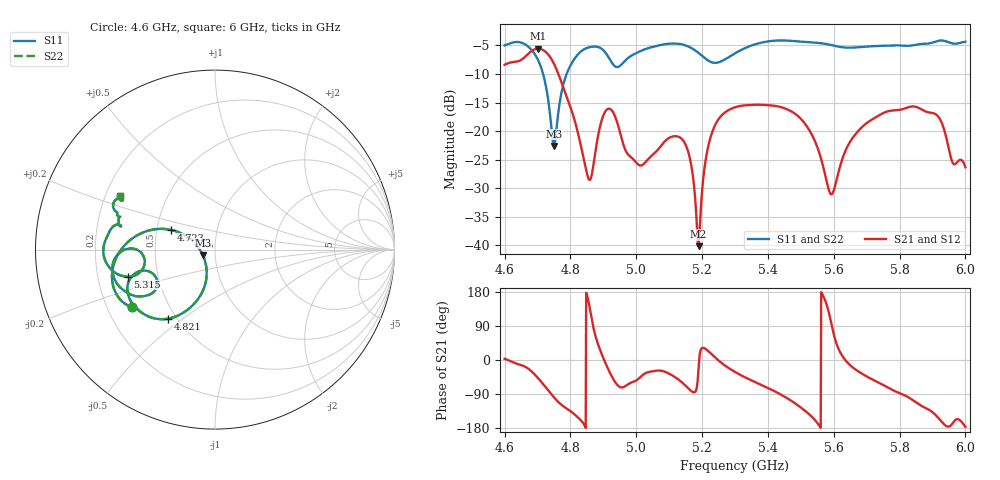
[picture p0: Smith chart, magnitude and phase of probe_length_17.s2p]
! TOUCHSTONE file generated by CST MICROWAVE STUDIO
! Date and time: Sat Nov 30 13:12:03 2024
! Project name: test_tuning.cst
! Parameters = {airCoaxOuterDiameter=3; chamferAngle=45; chamferWidth=24; connectorLength=10; drillingHoleDiameter=4.1; feedLength=60; flareDiameter=130; flareLength=70; gratingDistance=0; gratingGap=1.90274; outletLength=30; polarizerLength=134; probe1Diameter=1.3; probe1Distance=14; probe1Length=1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
! Header version: 2024
! Port assignment regex: !\s*Touchstone port\s*([0-9]+)\s*=\s*(CST MWS port|CST DES external port|CST DES block port)\s*(.+)\s* \(\"(.*)\"\)(\s*mode\s*([0-9]+))?.*
! Touchstone port assignment:
! Touchstone port 1 = CST MWS port 1 ("Input1")
! Touchstone port 2 = CST MWS port 2 ("Input2")
# GHz S MA R 50
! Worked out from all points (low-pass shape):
!   1001 points, 4.6 GHz to 6 GHz, reference 50 ohm
!   highest |S21| = -5.55 dB at 4.702 GHz (marker M1); lowest = -40.1 dB at 5.189 GHz (marker M2)
!   |S21| within 3 dB of the highest: start of sweep to 4.753 GHz
!   lowest |S11| = -22.6 dB at 4.75 GHz (marker M3), VSWR 1.16, Z = 43.5 - j2.6 ohm
!   |S11| at or under -10 dB: 4.717 GHz to 4.788 GHz (71.45 MHz wide, 1.5 % of centre)
!   |S22| runs from -22.6 to -4.1 dB; largest |S21 - S12| = 1.2e-06
!   S11 on the Smith chart (normalised r, x): 4.6 GHz: 0.30, -0.29; 4.723 GHz: 0.60, +0.14; 4.821 GHz: 0.45, -0.44; 5.315 GHz: 0.33, -0.14; 6 GHz: 0.26, +0.24
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4.6  0.5637 -145.2  0.3814 3.3  0.3814 3.3  0.5637 -145.2
4.7022  0.4158 167.0  0.5276 -48.5  0.5276 -48.5  0.4158 167.0
4.7232  0.2668 155.8  0.4988 -70.1  0.4988 -70.1  0.2668 155.8
4.7498  0.07438 -156.4  0.3902 -98.3  0.3902 -98.3  0.07438 -156.4
4.7806  0.2702 -107.7  0.2321 -123.3  0.2321 -123.3  0.2702 -107.7
4.8212  0.464 -124.0  0.1008 -150.3  0.1008 -150.3  0.464 -124.0
4.8338  0.5034 -130.0  0.06998 -161.1  0.06998 -161.1  0.5034 -130.0
4.8604  0.5448 -142.1  0.03781 129.1  0.03781 129.1  0.5448 -142.1
4.9164  0.4405 -164.0  0.1575 -27.2  0.1575 -27.2  0.4405 -164.0
5.0046  0.4898 -147.8  0.05144 -51.1  0.05144 -51.1  0.4898 -147.8
5.0676  0.5625 -157.0  0.06994 -27.8  0.06994 -27.8  0.5625 -157.0
5.1488  0.5642 -174.2  0.07732 -67.1  0.07732 -67.1  0.5642 -174.2
5.1894  0.484 179.4  0.009859 -18.4  0.009859 -18.4  0.484 179.4
5.2272  0.4029 -175.7  0.09135 16.8  0.09135 16.8  0.4029 -175.7
5.3  0.4801 -162.1  0.1619 -31.5  0.1619 -31.5  0.4801 -162.1
5.3154  0.508 -162.7  0.1661 -39.0  0.1661 -39.0  0.508 -162.7
5.5338  0.5984 170.8  0.09283 -150.2  0.09283 -150.2  0.5984 170.8
5.594  0.5661 165.8  0.02805 90.8  0.02805 90.8  0.5661 165.8
5.657  0.5389 166.2  0.08696 -19.1  0.08696 -19.1  0.5389 166.2
5.7676  0.5616 163.0  0.1501 -74.1  0.1501 -74.1  0.5616 163.0
5.9104  0.6095 158.0  0.1403 -146.0  0.1403 -146.0  0.6095 158.0
6  0.6071 150.8  0.04828 -176.4  0.04828 -176.4  0.6071 150.8
